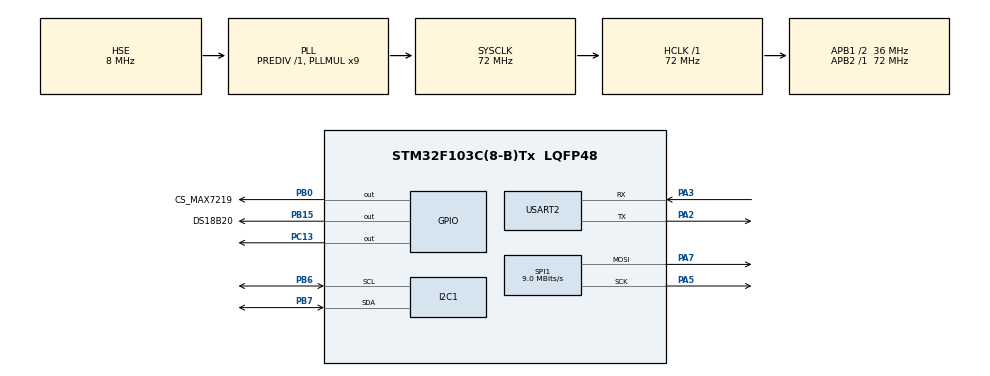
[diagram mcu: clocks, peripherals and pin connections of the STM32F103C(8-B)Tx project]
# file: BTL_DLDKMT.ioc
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Mcu.Family=STM32F1
Mcu.Name=STM32F103C(8-B)Tx
Mcu.Package=LQFP48
NVIC.PriorityGroup=NVIC_PRIORITYGROUP_4
NVIC.USART2_IRQn=true\:0\:0\:false\:false\:true\:true\:true\:true
PA13.Mode=Serial_Wire
PA13.Signal=SYS_JTMS-SWDIO
PA14.Mode=Serial_Wire
PA14.Signal=SYS_JTCK-SWCLK
PA2.Mode=Asynchronous
PA2.Signal=USART2_TX
PA3.Mode=Asynchronous
PA3.Signal=USART2_RX
PA5.Mode=TX_Only_Simplex_Unidirect_Master
PA5.Signal=SPI1_SCK
PA7.Mode=TX_Only_Simplex_Unidirect_Master
PA7.Signal=SPI1_MOSI
PB0.GPIO_Label=CS_MAX7219
PB0.Signal=GPIO_Output
PB15.GPIO_Label=DS18B20
PB15.Signal=GPIO_Output
PB6.Mode=I2C
PB6.Signal=I2C1_SCL
PB7.Mode=I2C
PB7.Signal=I2C1_SDA
PC13-TAMPER-RTC.Signal=GPIO_Output
PD0-OSC_IN.Mode=HSE-External-Oscillator
PD0-OSC_IN.Signal=RCC_OSC_IN
PD1-OSC_OUT.Mode=HSE-External-Oscillator
PD1-OSC_OUT.Signal=RCC_OSC_OUT
ProjectManager.HeapSize=0x200
ProjectManager.StackSize=0x400
ProjectManager.TargetToolchain=MDK-ARM V5.27
RCC.AHBFreq_Value=72000000
RCC.APB1CLKDivider=RCC_HCLK_DIV2
RCC.APB1Freq_Value=36000000
RCC.APB1TimFreq_Value=72000000
RCC.APB2Freq_Value=72000000
RCC.APB2TimFreq_Value=72000000
RCC.HCLKFreq_Value=72000000
RCC.PLLMUL=RCC_PLL_MUL9
RCC.PLLSourceVirtual=RCC_PLLSOURCE_HSE
RCC.SYSCLKFreq_VALUE=72000000
RCC.SYSCLKSource=RCC_SYSCLKSOURCE_PLLCLK
RCC.USBFreq_Value=72000000
SPI1.BaudRatePrescaler=SPI_BAUDRATEPRESCALER_8
SPI1.CalculateBaudRate=9.0 MBits/s
SPI1.Direction=SPI_DIRECTION_2LINES
SPI1.Mode=SPI_MODE_MASTER
SPI1.VirtualType=VM_MASTER
TIM4.Period=0xffff-1
TIM4.Prescaler=72-1
USART2.VirtualMode=VM_ASYNC
VP_TIM4_VS_ClockSourceINT.Mode=Internal
board=custom

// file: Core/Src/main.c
#include "main.h"
#include "stdio.h"
#include "stdint.h"
#include <string.h>
#include "stdbool.h"
#include "stm32f1xx_hal.h"
#include <string.h>
/* USER CODE BEGIN Includes */
#include "DS18B20.h"
#include "max7219.h"
/* USER CODE END Includes */

I2C_HandleTypeDef hi2c1;

SPI_HandleTypeDef hspi1;

TIM_HandleTypeDef htim4;

UART_HandleTypeDef huart2;

/* USER CODE BEGIN PV */
DS18B20_Name DS1;
float Temp;
long last =0;
int i=0;
/* USER CODE END PV */

void SystemClock_Config(void);
static void MX_GPIO_Init(void);
static void MX_TIM4_Init(void);
static void MX_USART2_UART_Init(void);
static void MX_I2C1_Init(void);
static void MX_SPI1_Init(void);
/* USER CODE BEGIN PFP */

#ifdef __GNUC__
	#define PUTCHAR_PROTOTYPE int __io_putchar(int ch)
#else
	#define PUTCHAR_PROTOTYPE int fputc(int ch, FILE *f)
#endif
PUTCHAR_PROTOTYPE
{
	HAL_UART_Transmit(&huart2 ,(uint8_t *)&ch,1,0xFFFF);
	return ch;
}

#define EEPROM_ADDRESS 0xA0
uint8_t day = 18;
uint8_t month = 3;
uint16_t year = 2024;
char data_to_read[20];

void Read_data(void);
const int MAX_LEN = 18;
uint8_t nRxData[MAX_LEN];
uint8_t nTxData[MAX_LEN];
uint8_t strCommand[4];
uint8_t strOpt[3];
uint8_t strData[8];
bool bDataAvailable = false;

uint8_t STX[] = {0x02U};
uint8_t ETX[] = {0x03U};
uint8_t ACK[] = {0x06U};
uint8_t SYN[] = {0x16U};

uint8_t *subString(uint8_t *s, int pos, int index)
{
	uint8_t *t = &s[pos];
	s[pos-1] = '\0';
	for (int i = index; i < (strlen((char *)t) + 1); i++)
  {
   t[i] = '\0';
  }
return t;
}

bool StrCompare(uint8_t *pBuff, uint8_t *Sample, uint8_t nSize)
{
	for	(int i = 0; i < nSize; i++)
	{
		if (pBuff[i] != Sample[i])
			{
				return false;
			}
	}
	return true;
}

bool WriteComm(uint8_t *pBuff, uint8_t nSize)
{
 return HAL_UART_Transmit(&huart2, pBuff, nSize, 1000);
}

bool ReadComm (uint8_t *pBuff, uint8_t nSize)
{
  if ((pBuff[0] == STX[0]) && (pBuff[17] == ETX[0]))
	{
   memcpy (strCommand, subString (pBuff, 1, 4), 4);
   memcpy (strOpt, subString (pBuff, 5, 3), 3);
   memcpy (strData, subString (pBuff, 8, 8), 8);

   bDataAvailable = true;
  }
	else
	{
   bDataAvailable = false;
	}

  return bDataAvailable;
}
/* USER CODE END PFP */

int main(void)
{

  /* MCU Configuration--------------------------------------------------------*/

  /* Reset of all peripherals, Initializes the Flash interface and the Systick. */
  HAL_Init();

  /* Configure the system clock */
  SystemClock_Config();

  /* Initialize all configured peripherals */
  MX_GPIO_Init();
  MX_TIM4_Init();
  MX_USART2_UART_Init();
  MX_I2C1_Init();
  MX_SPI1_Init();
  /* USER CODE BEGIN 2 */
	HAL_UART_Receive_IT(&huart2, (uint8_t *)nRxData, MAX_LEN);
	bool serialProcess();
	DS18B20_Init(&DS1, &htim4, DS18B20_GPIO_Port, DS18B20_Pin);

  /* USER CODE END 2 */
uint8_t data_to_write[5];
					data_to_write[0] = day;
					data_to_write[1] = month;
					data_to_write[2] = (uint8_t)(year >> 8);  // High byte of year
					data_to_write[3] = (uint8_t)(year & 0xFF);
					HAL_I2C_Mem_Write(&hi2c1, EEPROM_ADDRESS, 0 , 0xFF, data_to_write, 4,10);
					HAL_Delay(10);

					uint8_t data_read[4];
					HAL_I2C_Mem_Read(&hi2c1, EEPROM_ADDRESS, 0, 0xFF, data_read, 4,10 );
					//show the data eeprom to uart
					day = data_read[0];
					month = data_read[1];
					year = ((uint16_t)data_read[2] << 8) | data_read[3];
					// Format the read data
					sprintf(data_to_read, "%02d/%02d/%04d", day, month, year);
  /* Infinite loop */
  while (1)
  {

    /* USER CODE BEGIN 3 */
		serialProcess();
  }
  /* USER CODE END 3 */
}
void Read_data(void)
{
	Temp = DS18B20_ReadTemp(&DS1);
	//HAL_Delay(2000);
	/*last = HAL_GetTick();
	while(1)
	{
		if(HAL_GetTick() - last >=1200)
		{
			i++;
			printf("%d.Temperature: %0.2f\r\n",i,Temp);
			last = HAL_GetTick();
			break;
		}
	} */
}
bool serialProcess(void)
{
	uint8_t nIndex = 0;
	static bool dataSent = false;
	if(!dataSent&&bDataAvailable)
	{
			Read_data();
			char tempString[10];
      sprintf(tempString, "%.2f", Temp);
			max7219_Init( 7 );
			max7219_Decode_On();
		  if(StrCompare (strCommand, (uint8_t *)"DISP", 4)) // du lieu luu trong bien nTxData de gui tu STM32 len PC(GUI)
			{

				memcpy(nTxData + nIndex, STX, 1);
				nIndex += 1;
				memcpy(nTxData + nIndex, strCommand, 4);
				nIndex += 4;
				memcpy(nTxData + nIndex, "ND:", 3);
				nIndex += 3;
				memcpy(nTxData + nIndex, tempString, strlen((char *)tempString));
				nIndex += 8;
				memcpy(nTxData + nIndex, ACK, 1);
				nIndex += 1;
				memcpy(nTxData + nIndex, ETX, 1);

				WriteComm(nTxData, MAX_LEN);
				dataSent = true;
			}
				else if(StrCompare (strCommand, (uint8_t *)"EEPR", 4)){

					memcpy(nTxData + nIndex, STX, 1);
					nIndex += 1;
					memcpy(nTxData + nIndex, strCommand, 4);
					nIndex += 4;
					memcpy(nTxData + nIndex, "OM:", 3);
					nIndex += 3;
					memcpy(nTxData + nIndex,(uint8_t*) data_to_read , strlen(data_to_read));
					nIndex += strlen(data_to_read);
					memcpy(nTxData + nIndex, ACK, 1);
					nIndex += 1;
					memcpy(nTxData + nIndex, ETX, 1);

					WriteComm(nTxData, nIndex);
					dataSent = true;
			} else if(StrCompare (strCommand, (uint8_t *)"7SEG", 4)) {
				max7219_Clean();
				max7219_PrintNtos(DIGIT_8, 605,4);
				max7219_PrintItos(DIGIT_4, 2024);
				HAL_Delay(1500);
				memcpy(nTxData + nIndex, STX, 1);
					nIndex += 1;
					memcpy(nTxData + nIndex, strCommand, 4);
					nIndex += 4;
					memcpy(nTxData + nIndex, "LED", 3);
					nIndex += 3;
					memcpy(nTxData + nIndex,"06052024", 8);
					nIndex += 8;
					memcpy(nTxData + nIndex, "*", 1);
					nIndex += 1;
					memcpy(nTxData + nIndex, "*", 1);
					WriteComm(nTxData, nIndex);
					dataSent = true;
			}
			else if(StrCompare (strCommand, (uint8_t *)"ON13", 4)) {

				  HAL_GPIO_WritePin(GPIOC,GPIO_PIN_13,0);
					memcpy(nTxData + nIndex, STX, 1);
					nIndex += 1;
					memcpy(nTxData + nIndex, strCommand, 4);
					nIndex += 4;
					memcpy(nTxData + nIndex, "LED", 3);
					nIndex += 3;
					memcpy(nTxData + nIndex,"LEDSANG", 7);
					nIndex += 7;
					memcpy(nTxData + nIndex, "O", 1);
					nIndex += 1;
					memcpy(nTxData + nIndex, "O", 1);
					WriteComm(nTxData, nIndex);
					dataSent = true;
			}
			else if(StrCompare (strCommand, (uint8_t *)"OFFP", 4)) {

				  HAL_GPIO_WritePin(GPIOC,GPIO_PIN_13,1);
					memcpy(nTxData + nIndex, STX, 1);
					nIndex += 1;
					memcpy(nTxData + nIndex, strCommand, 4);
					nIndex += 4;
					memcpy(nTxData + nIndex, "C13", 3);
					nIndex += 3;
					memcpy(nTxData + nIndex,"LED13TAT", 8);
					nIndex += 8;
					memcpy(nTxData + nIndex, "F", 1);
					nIndex += 1;
					memcpy(nTxData + nIndex, "F", 1);
					WriteComm(nTxData, nIndex);
					dataSent = true;
			}
				else
			{
				memcpy(nTxData + nIndex, STX, 1);
				nIndex += 1;
				memcpy(nTxData + nIndex, "NULL", 4);
				nIndex += 4;
				memcpy(nTxData + nIndex, strOpt, 3);
				nIndex += 3;
				memcpy(nTxData + nIndex, strData, 8);
				nIndex += 8;
				memcpy(nTxData + nIndex, ACK, 1);
				nIndex += 1;
				memcpy(nTxData + nIndex, ETX, 1);

				WriteComm(nTxData, MAX_LEN);
				dataSent = true;
			}

	}
	if (bDataAvailable) {
        // Reset the flag and process received data when data is available
        dataSent = false;
        bDataAvailable = false;
        // Process received data here
    }
	return true;
}
void HAL_UART_RxCpltCallback(UART_HandleTypeDef *huart)
{
         if (huart->Instance == huart2.Instance)
				   ReadComm(nRxData, MAX_LEN);
				   HAL_UART_Receive_IT(&huart2, (uint8_t *)nRxData, MAX_LEN);
}

void SystemClock_Config(void)
{
  RCC_OscInitTypeDef RCC_OscInitStruct = {0};
  RCC_ClkInitTypeDef RCC_ClkInitStruct = {0};

  /** Initializes the RCC Oscillators according to the specified parameters
  * in the RCC_OscInitTypeDef structure.
  */
  RCC_OscInitStruct.OscillatorType = RCC_OSCILLATORTYPE_HSE;
  RCC_OscInitStruct.HSEState = RCC_HSE_ON;
  RCC_OscInitStruct.HSEPredivValue = RCC_HSE_PREDIV_DIV1;
  RCC_OscInitStruct.HSIState = RCC_HSI_ON;
  RCC_OscInitStruct.PLL.PLLState = RCC_PLL_ON;
  RCC_OscInitStruct.PLL.PLLSource = RCC_PLLSOURCE_HSE;
  RCC_OscInitStruct.PLL.PLLMUL = RCC_PLL_MUL9;
  if (HAL_RCC_OscConfig(&RCC_OscInitStruct) != HAL_OK)
  {
    Error_Handler();
  }

  /** Initializes the CPU, AHB and APB buses clocks
  */
  RCC_ClkInitStruct.ClockType = RCC_CLOCKTYPE_HCLK|RCC_CLOCKTYPE_SYSCLK
                              |RCC_CLOCKTYPE_PCLK1|RCC_CLOCKTYPE_PCLK2;
  RCC_ClkInitStruct.SYSCLKSource = RCC_SYSCLKSOURCE_PLLCLK;
  RCC_ClkInitStruct.AHBCLKDivider = RCC_SYSCLK_DIV1;
  RCC_ClkInitStruct.APB1CLKDivider = RCC_HCLK_DIV2;
  RCC_ClkInitStruct.APB2CLKDivider = RCC_HCLK_DIV1;

  if (HAL_RCC_ClockConfig(&RCC_ClkInitStruct, FLASH_LATENCY_2) != HAL_OK)
  {
    Error_Handler();
  }
}

static void MX_I2C1_Init(void)
{

  hi2c1.Instance = I2C1;
  hi2c1.Init.ClockSpeed = 100000;
  hi2c1.Init.DutyCycle = I2C_DUTYCYCLE_2;
  hi2c1.Init.OwnAddress1 = 0;
  hi2c1.Init.AddressingMode = I2C_ADDRESSINGMODE_7BIT;
  hi2c1.Init.DualAddressMode = I2C_DUALADDRESS_DISABLE;
  hi2c1.Init.OwnAddress2 = 0;
  hi2c1.Init.GeneralCallMode = I2C_GENERALCALL_DISABLE;
  hi2c1.Init.NoStretchMode = I2C_NOSTRETCH_DISABLE;
  if (HAL_I2C_Init(&hi2c1) != HAL_OK)
  {
    Error_Handler();
  }

}

static void MX_SPI1_Init(void)
{

  /* SPI1 parameter configuration*/
  hspi1.Instance = SPI1;
  hspi1.Init.Mode = SPI_MODE_MASTER;
  hspi1.Init.Direction = SPI_DIRECTION_2LINES;
  hspi1.Init.DataSize = SPI_DATASIZE_8BIT;
  hspi1.Init.CLKPolarity = SPI_POLARITY_LOW;
  hspi1.Init.CLKPhase = SPI_PHASE_1EDGE;
  hspi1.Init.NSS = SPI_NSS_SOFT;
  hspi1.Init.BaudRatePrescaler = SPI_BAUDRATEPRESCALER_8;
  hspi1.Init.FirstBit = SPI_FIRSTBIT_MSB;
  hspi1.Init.TIMode = SPI_TIMODE_DISABLE;
  hspi1.Init.CRCCalculation = SPI_CRCCALCULATION_DISABLE;
  hspi1.Init.CRCPolynomial = 10;
  if (HAL_SPI_Init(&hspi1) != HAL_OK)
  {
    Error_Handler();
  }

}

static void MX_TIM4_Init(void)
{

  TIM_ClockConfigTypeDef sClockSourceConfig = {0};
  TIM_MasterConfigTypeDef sMasterConfig = {0};

  htim4.Instance = TIM4;
  htim4.Init.Prescaler = 72-1;
  htim4.Init.CounterMode = TIM_COUNTERMODE_UP;
  htim4.Init.Period = 0xffff-1;
  htim4.Init.ClockDivision = TIM_CLOCKDIVISION_DIV1;
  htim4.Init.AutoReloadPreload = TIM_AUTORELOAD_PRELOAD_DISABLE;
  if (HAL_TIM_Base_Init(&htim4) != HAL_OK)
  {
    Error_Handler();
  }
  sClockSourceConfig.ClockSource = TIM_CLOCKSOURCE_INTERNAL;
  if (HAL_TIM_ConfigClockSource(&htim4, &sClockSourceConfig) != HAL_OK)
  {
    Error_Handler();
  }
  sMasterConfig.MasterOutputTrigger = TIM_TRGO_RESET;
  sMasterConfig.MasterSlaveMode = TIM_MASTERSLAVEMODE_DISABLE;
  if (HAL_TIMEx_MasterConfigSynchronization(&htim4, &sMasterConfig) != HAL_OK)
  {
    Error_Handler();
  }

}

static void MX_USART2_UART_Init(void)
{

  huart2.Instance = USART2;
  huart2.Init.BaudRate = 115200;
  huart2.Init.WordLength = UART_WORDLENGTH_8B;
  huart2.Init.StopBits = UART_STOPBITS_1;
  huart2.Init.Parity = UART_PARITY_NONE;
  huart2.Init.Mode = UART_MODE_TX_RX;
  huart2.Init.HwFlowCtl = UART_HWCONTROL_NONE;
  huart2.Init.OverSampling = UART_OVERSAMPLING_16;
  if (HAL_UART_Init(&huart2) != HAL_OK)
  {
    Error_Handler();
  }

}

static void MX_GPIO_Init(void)
{
  GPIO_InitTypeDef GPIO_InitStruct = {0};

  /* GPIO Ports Clock Enable */
  __HAL_RCC_GPIOC_CLK_ENABLE();
  __HAL_RCC_GPIOD_CLK_ENABLE();
  __HAL_RCC_GPIOA_CLK_ENABLE();
  __HAL_RCC_GPIOB_CLK_ENABLE();

  /*Configure GPIO pin Output Level */
  HAL_GPIO_WritePin(GPIOC, GPIO_PIN_13, GPIO_PIN_RESET);

  /*Configure GPIO pin Output Level */
  HAL_GPIO_WritePin(GPIOB, CS_MAX7219_Pin|DS18B20_Pin, GPIO_PIN_RESET);

  /*Configure GPIO pin : PC13 */
  GPIO_InitStruct.Pin = GPIO_PIN_13;
  GPIO_InitStruct.Mode = GPIO_MODE_OUTPUT_PP;
  GPIO_InitStruct.Pull = GPIO_NOPULL;
  GPIO_InitStruct.Speed = GPIO_SPEED_FREQ_LOW;
  HAL_GPIO_Init(GPIOC, &GPIO_InitStruct);

  /*Configure GPIO pins : CS_MAX7219_Pin DS18B20_Pin */
  GPIO_InitStruct.Pin = CS_MAX7219_Pin|DS18B20_Pin;
  GPIO_InitStruct.Mode = GPIO_MODE_OUTPUT_PP;
  GPIO_InitStruct.Pull = GPIO_NOPULL;
  GPIO_InitStruct.Speed = GPIO_SPEED_FREQ_LOW;
  HAL_GPIO_Init(GPIOB, &GPIO_InitStruct);

}

void Error_Handler(void)
{
}
